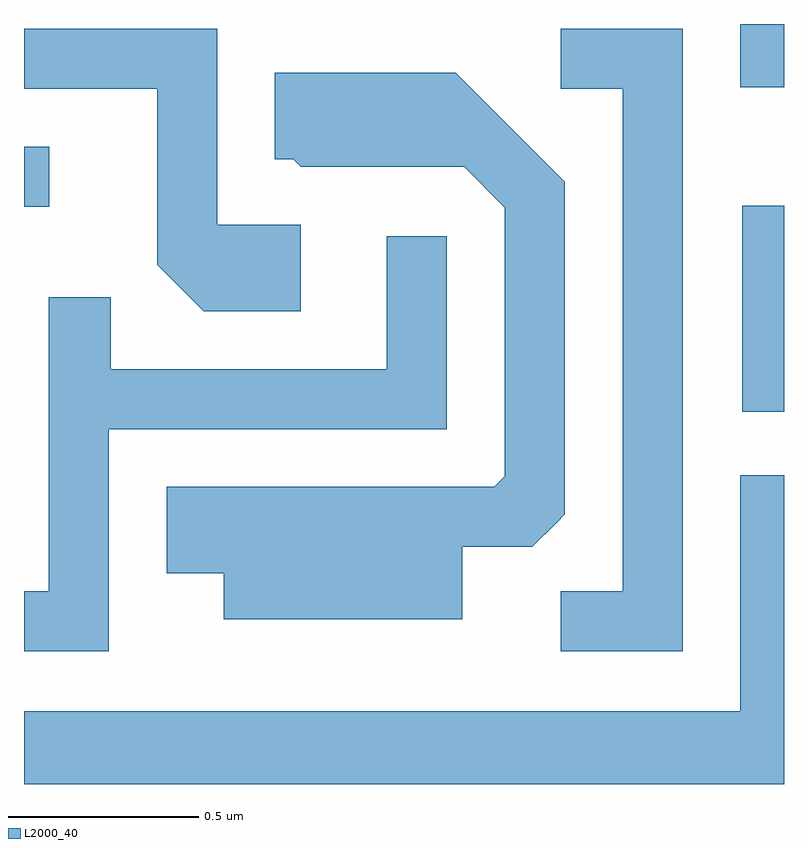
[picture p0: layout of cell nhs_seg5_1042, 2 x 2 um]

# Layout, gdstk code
import gdstk
lib = gdstk.Library(unit=1e-6, precision=1e-09)
def R(c, l, rs):  # rectangles x0, y0, x1, y1
    for r in rs: c.add(gdstk.rectangle(r[:2], r[2:], *l))
def P(c, l, *ps):  # polygons
    for p in ps: c.add(gdstk.Polygon(p, *l))
L2000_40 = (2000, 40)

nhs_seg5_1042 = lib.new_cell('nhs_seg5_1042')
R(nhs_seg5_1042, L2000_40, [(194.501,1480.051,194.611,1480.594), (192.611,1480.591,192.678,1480.749), (194.496,1480.906,194.611,1481.072)])
P(nhs_seg5_1042, L2000_40, [(194.344,1481.059),(194.023,1481.059),(194.023,1480.901),(194.186,1480.901),(194.186,1479.579),(194.023,1479.579),(194.023,1479.421),(194.344,1479.421)],
  [(193.339,1480.544),(193.119,1480.544),(193.119,1481.059),(192.611,1481.059),(192.611,1480.901),(192.961,1480.901),(192.961,1480.439),(193.084,1480.316),(193.339,1480.316)],
  [(193.764,1479.696),(193.949,1479.696),(194.013,1479.76),(194.034,1479.782),(194.034,1480.657),(193.747,1480.944),(193.271,1480.944),(193.271,1480.716),(193.319,1480.716),(193.339,1480.696),(193.769,1480.696),(193.876,1480.589),(193.876,1479.882),(193.849,1479.854),(192.986,1479.854),(192.986,1479.626),(193.136,1479.626),(193.136,1479.506),(193.764,1479.506)],
  [(192.834,1480.006),(193.724,1480.006),(193.724,1480.513),(193.566,1480.513),(193.566,1480.164),(192.839,1480.164),(192.839,1480.353),(192.676,1480.353),(192.676,1479.579),(192.611,1479.579),(192.611,1479.421),(192.834,1479.421)],
  [(194.611,1479.884),(194.496,1479.884),(194.496,1479.264),(192.611,1479.264),(192.611,1479.072),(194.611,1479.072)])

lib.write_gds('nhs_seg5_1042.gds')
